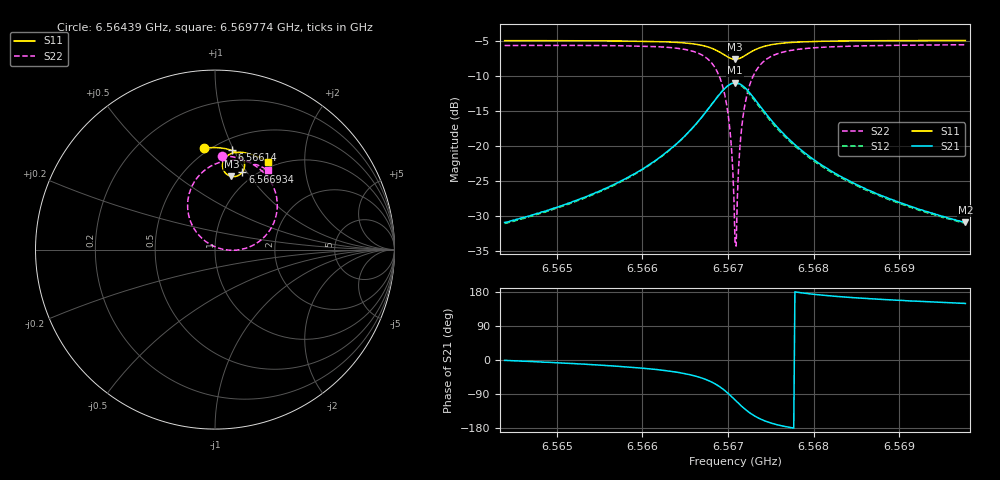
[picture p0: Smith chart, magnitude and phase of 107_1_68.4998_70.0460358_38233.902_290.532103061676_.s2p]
#  HZ  S  RI  R  50.00
! Rohde & Schwarz Vector Network Analyzer
! Rohde-Schwarz,ZNB20-2Port,1311601062101988,3.16
! Created: UTC 3/20/2024, 5:08:32 PM
! freq[Hz]  re:S11  im:S11  re:S21  im:S21  re:S12  im:S12  re:S22  im:S22
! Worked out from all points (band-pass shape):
!   401 points, 6.56439 GHz to 6.569774 GHz, reference 50 ohm
!   highest |S21| = -10.94 dB at 6.567082 GHz (marker M1); lowest = -31.0 dB at 6.569774 GHz (marker M2)
!   |S21| within 3 dB of the highest: 6.566817 GHz to 6.567353 GHz (536.4 kHz wide, 0.00817 % of centre)
!   lowest |S11| = -7.6 dB at 6.567082 GHz (marker M3), VSWR 2.44, Z = 41.6 + j41.1 ohm
!   |S11| at or under -10 dB: nowhere
!   |S22| runs from -34.4 to -5.5 dB; largest |S21 - S12| = 0.013
!   S11 on the Smith chart (normalised r, x): 6.56439 GHz: 0.47, +0.78; 6.56614 GHz: 0.61, +0.98; 6.566934 GHz: 0.87, +0.96; 6.569774 GHz: 0.91, +1.33
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6.5643901e9  -0.0601 0.5658  0.0283 -0.000487  0.0278 -0.000944  0.0394 0.524
6.5652919e9  0.0138 0.5677  0.0414 -0.00788  0.0407 -0.00842  0.1252 0.5105
6.5661398e9  0.0932 0.5533  0.0707 -0.0323  0.0697 -0.0332  0.2364 0.4589
6.5661937e9  0.099 0.5511  0.0738 -0.0359  0.0727 -0.0368  0.2458 0.4515
6.5667051e9  0.1583 0.5003  0.1092 -0.1227  0.1066 -0.125  0.3444 0.2828
6.5668397e9  0.1648 0.4649  0.0994 -0.1847  0.0948 -0.1881  0.333 0.1643
6.5669339e9  0.1531 0.4328  0.0619 -0.2395  0.0539 -0.2425  0.2657 0.0619
6.5669743e9  0.1412 0.4201  0.033 -0.2604  0.0232 -0.262  0.2128 0.0246
6.5670147e9  0.1248 0.4107  -0.00369 -0.2747  -0.0151 -0.274  0.1451 0.000841
6.5670416e9  0.1117 0.4073  -0.0314 -0.2787  -0.0435 -0.276  0.095 -0.0039
6.5670685e9  0.0981 0.407  -0.0604 -0.2769  -0.0724 -0.2721  0.0436 0.00187
6.567082e9  0.0913 0.4079  -0.0747 -0.2739  -0.0865 -0.2681  0.0185 0.00887
6.5670954e9  0.0845 0.4097  -0.0887 -0.2695  -0.1002 -0.2626  -0.0058 0.0182
6.5671089e9  0.078 0.4122  -0.1023 -0.2636  -0.1131 -0.2558  -0.0288 0.0301
6.5671358e9  0.0663 0.4191  -0.1267 -0.2484  -0.1361 -0.2391  -0.0696 0.0599
6.5671762e9  0.0528 0.4333  -0.1554 -0.2194  -0.1623 -0.2083  -0.1156 0.1149
6.56723e9  0.0432 0.4552  -0.1778 -0.1754  -0.1809 -0.1642  -0.1473 0.1942
6.5672973e9  0.043 0.4812  -0.1844 -0.1252  -0.184 -0.1151  -0.1499 0.2828
6.5675396e9  0.0804 0.5302  -0.1418 -0.028  -0.1387 -0.0238  -0.0527 0.4459
6.5679838e9  0.1434 0.5423  -0.0808 0.0088  -0.0789 0.00995  0.0848 0.4975
6.5688855e9  0.2278 0.5215  -0.0391 0.015  -0.0381 0.0155  0.2153 0.4798
6.5697738e9  0.2935 0.4896  -0.0243 0.0145  -0.0238 0.0145  0.2934 0.4439
